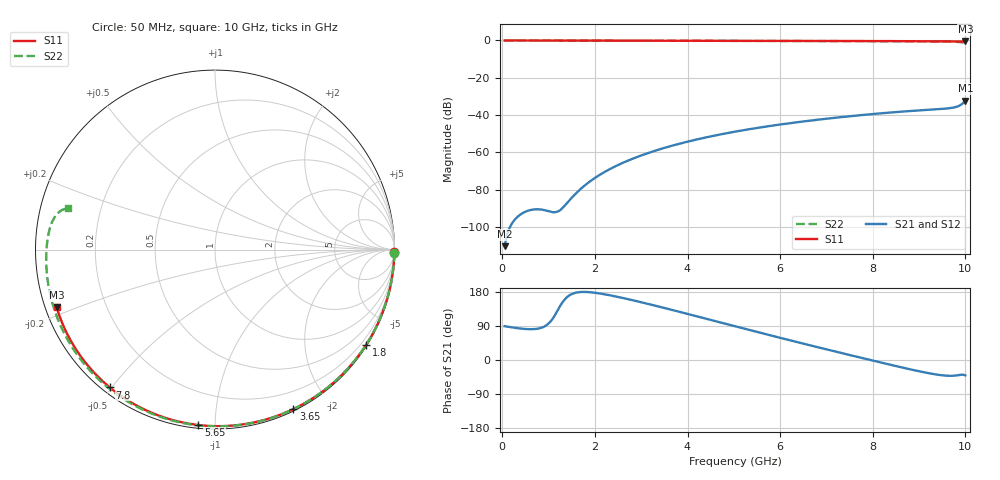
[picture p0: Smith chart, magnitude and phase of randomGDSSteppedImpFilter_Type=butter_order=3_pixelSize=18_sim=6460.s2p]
! freq	dB(S11)	phase(S11)	dB(S12)	phase(S12)
!  dB(S21)	phase(S21)	dB(S22)	phase(S22)
!S-par simulation data
#  GHz  S  DB  R 50
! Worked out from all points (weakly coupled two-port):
!   200 points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, 50 MHz to 10 GHz, reference 50 ohm
!   highest |S21| = -32.25 dB at 10 GHz (marker M1); lowest = -110.4 dB at 50 MHz (marker M2)
!   lowest |S11| = -0.5 dB at 10 GHz (marker M3), VSWR 31.76, Z = 1.62 - j8.84 ohm
!   |S11| at or under -10 dB: nowhere
!   |S22| runs from -1.4 to 0.0 dB; largest |S21 - S12| = 0
!   S11 on the Smith chart (normalised r, x): 50 MHz: open; 1.8 GHz: 0.03, -3.45; 3.65 GHz: 0.02, -1.61; 5.65 GHz: 0.02, -0.91; 7.8 GHz: 0.02, -0.49; 10 GHz: 0.03, -0.18
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0.05  -0.00 -0.9  -110.41 89.2  -110.41 89.2  -0.00 -1.1
0.85  -0.02 -15.4  -90.79 85.4  -90.79 85.4  -0.02 -18.5
1.65  -0.04 -29.7  -80.65 178.9  -80.65 178.9  -0.05 -35.6
1.7  -0.04 -30.6  -79.53 179.5  -79.53 179.5  -0.05 -36.6
1.75  -0.04 -31.4  -78.45 179.7  -78.45 179.7  -0.05 -37.7
1.8  -0.04 -32.3  -77.43 179.6  -77.43 179.6  -0.05 -38.7
2.1  -0.05 -37.6  -72.20 175.7  -72.20 175.7  -0.06 -45.0
2.5  -0.06 -44.5  -66.85 166.4  -66.85 166.4  -0.07 -53.2
2.9  -0.07 -51.3  -62.65 155.3  -62.65 155.3  -0.08 -61.3
3.4  -0.08 -59.7  -58.41 140.4  -58.41 140.4  -0.09 -71.1
3.65  -0.09 -63.8  -56.60 132.6  -56.60 132.6  -0.10 -76.0
4.35  -0.11 -75.2  -52.30 110.6  -52.30 110.6  -0.13 -89.3
5.05  -0.13 -86.2  -48.85 88.3  -48.85 88.3  -0.16 -102.1
5.65  -0.16 -95.4  -46.39 69.4  -46.39 69.4  -0.19 -112.9
6.7  -0.22 -111.2  -42.87 37.1  -42.87 37.1  -0.25 -131.4
7.8  -0.30 -127.3  -39.95 4.3  -39.95 4.3  -0.35 -150.7
8.35  -0.35 -135.4  -38.74 -11.7  -38.74 -11.7  -0.40 -160.5
9.1  -0.43 -146.4  -37.37 -32.2  -37.37 -32.2  -0.50 -174.4
9.7  -0.51 -155.4  -36.20 -41.7  -36.20 -41.7  -0.65 172.9
9.8  -0.52 -156.9  -35.68 -40.9  -35.68 -40.9  -0.72 170.3
9.9  -0.53 -158.4  -34.59 -39.0  -34.59 -39.0  -0.90 167.2
10  -0.55 -159.9  -32.25 -40.7  -32.25 -40.7  -1.43 164.2
